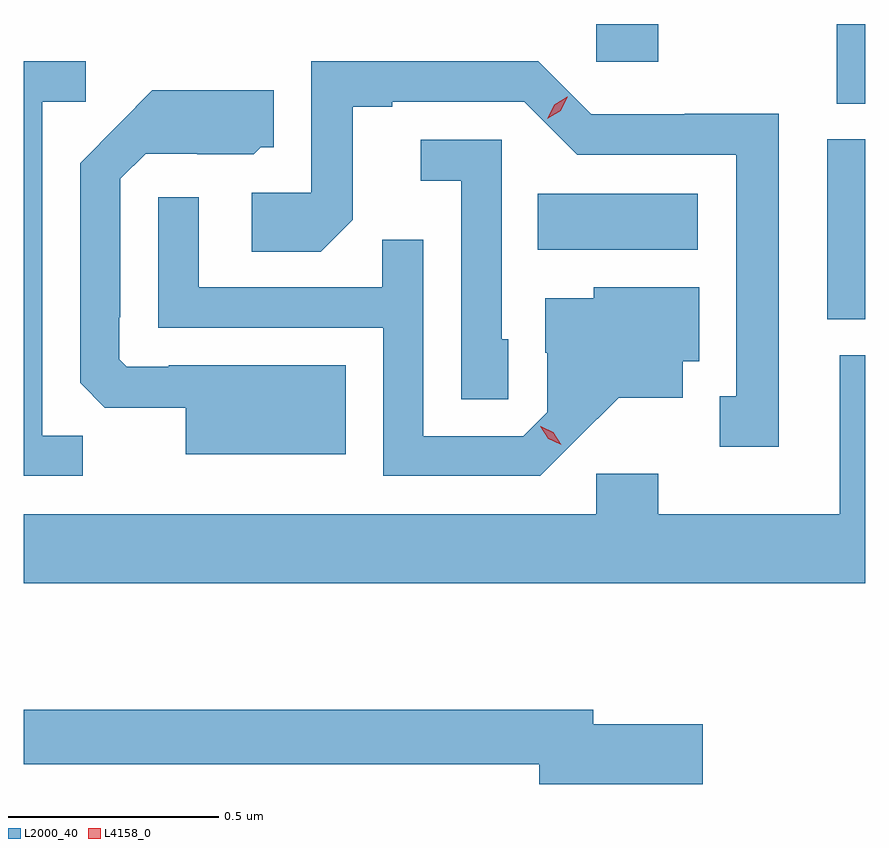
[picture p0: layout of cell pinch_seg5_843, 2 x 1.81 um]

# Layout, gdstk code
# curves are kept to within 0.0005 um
import gdstk
lib = gdstk.Library(unit=1e-6, precision=1e-09)
def R(c, l, rs):  # rectangles x0, y0, x1, y1
    for r in rs: c.add(gdstk.rectangle(r[:2], r[2:], *l))
def P(c, l, *ps):  # polygons
    for p in ps: c.add(gdstk.Polygon(p, *l))
L2000_40 = (2000, 40)
L4158_0 = (4158, 0)

pinch_seg5_843 = lib.new_cell('pinch_seg5_843')
R(pinch_seg5_843, L2000_40, [(766.982,890.687,767.073,891.115), (766.294,890.852,766.675,890.986), (767.005,891.2,767.073,891.389), (766.434,891.299,766.581,891.389)])
P(pinch_seg5_843, L2000_40, [(766.867,891.176),(766.644,891.176),(766.644,891.174),(766.422,891.174),(766.296,891.3),(765.756,891.3),(765.756,890.988),(765.615,890.988),(765.615,890.848),(765.779,890.848),(765.855,890.924),(765.855,891.192),(765.949,891.192),(765.949,891.204),(766.263,891.204),(766.389,891.078),(766.766,891.078),(766.766,890.505),(766.727,890.505),(766.727,890.385),(766.867,890.385)],
  [(765.213,890.411),(765.117,890.411),(765.117,891.204),(765.22,891.204),(765.22,891.3),(765.073,891.3),(765.073,890.316),(765.213,890.316)],
  [(765.838,890.578),(765.418,890.578),(765.418,890.574),(765.318,890.574),(765.3,890.592),(765.3,890.692),(765.303,890.692),(765.303,891.021),(765.363,891.081),(765.486,891.081),(765.486,891.08),(765.62,891.08),(765.636,891.096),(765.667,891.096),(765.667,891.232),(765.379,891.232),(765.207,891.058),(765.207,890.536),(765.266,890.477),(765.458,890.477),(765.458,890.366),(765.838,890.366)],
  [(766.224,890.64),(766.209,890.64),(766.209,891.114),(766.017,891.114),(766.017,891.017),(766.113,891.017),(766.113,890.497),(766.224,890.497)],
  [(766.384,890.399),(766.487,890.501),(766.639,890.501),(766.639,890.588),(766.678,890.588),(766.678,890.764),(766.428,890.764),(766.428,890.737),(766.313,890.737),(766.313,890.608),(766.317,890.608),(766.317,890.466),(766.26,890.409),(766.023,890.409),(766.023,890.876),(765.925,890.876),(765.925,890.763),(765.489,890.763),(765.489,890.977),(765.393,890.977),(765.393,890.667),(765.927,890.667),(765.927,890.316),(766.3,890.316)],
  [(767.073,890.602),(767.012,890.602),(767.012,890.224),(766.581,890.224),(766.581,890.32),(766.434,890.32),(766.434,890.224),(765.073,890.224),(765.073,890.06),(767.073,890.06)],
  [(766.687,889.725),(766.426,889.725),(766.426,889.759),(765.073,889.759),(765.073,889.63),(766.298,889.63),(766.298,889.583),(766.687,889.583)])
P(pinch_seg5_843, L4158_0, [(766.317,891.164),(766.317,891.164),(766.334,891.197),(766.365,891.216),(766.366,891.216),(766.366,891.216),(766.349,891.183),(766.317,891.164)],
  [(766.35,890.389),(766.319,890.404),(766.301,890.433),(766.301,890.433),(766.302,890.433),(766.332,890.419),(766.35,890.389),(766.35,890.389)])

lib.write_gds('pinch_seg5_843.gds')
